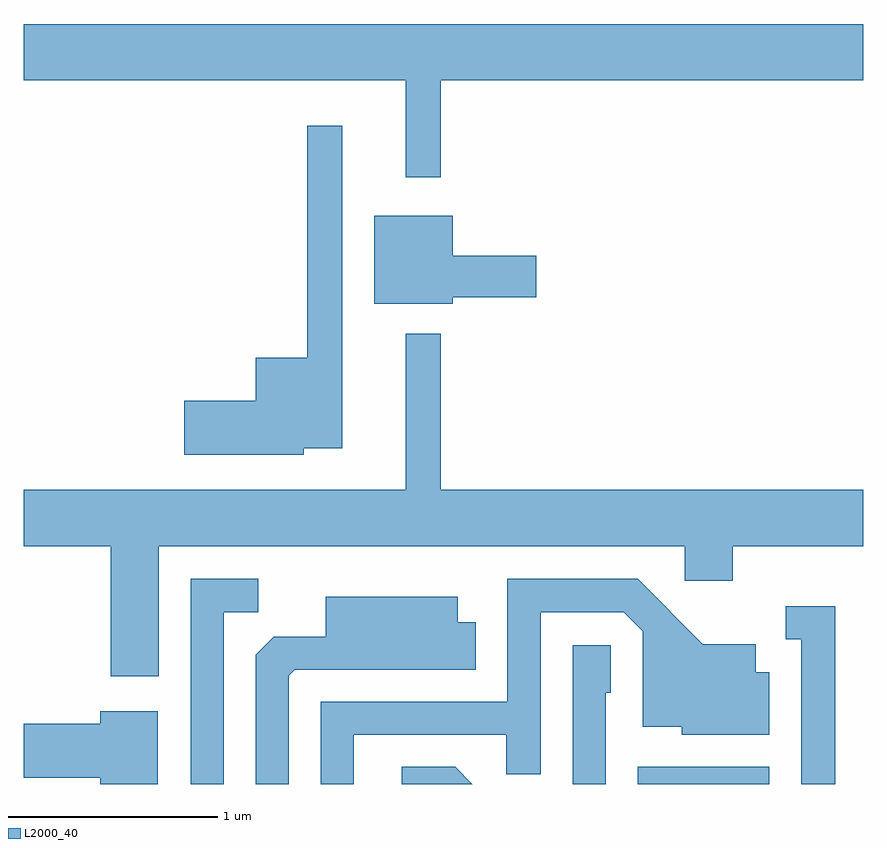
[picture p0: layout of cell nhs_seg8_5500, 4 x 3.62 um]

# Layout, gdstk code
import gdstk
lib = gdstk.Library(unit=1e-6, precision=1e-09)
def R(c, l, rs):  # rectangles x0, y0, x1, y1
    for r in rs: c.add(gdstk.rectangle(r[:2], r[2:], *l))
def P(c, l, *ps):  # polygons
    for p in ps: c.add(gdstk.Polygon(p, *l))
L2000_40 = (2000, 40)

nhs_seg8_5500 = lib.new_cell('nhs_seg8_5500')
R(nhs_seg8_5500, L2000_40, [(352.536,1886.342,353.164,1886.424)])
P(nhs_seg8_5500, L2000_40, [(351.599,1889.696),(353.611,1889.696),(353.611,1889.964),(349.611,1889.964),(349.611,1889.696),(351.431,1889.696),(351.431,1889.233),(351.599,1889.233)],
  [(350.944,1887.941),(351.129,1887.941),(351.129,1889.478),(350.961,1889.478),(350.961,1888.374),(350.716,1888.374),(350.716,1888.169),(350.376,1888.169),(350.376,1887.911),(350.944,1887.911)],
  [(351.654,1888.661),(352.054,1888.661),(352.054,1888.859),(351.654,1888.859),(351.654,1889.049),(351.281,1889.049),(351.281,1888.631),(351.654,1888.631)],
  [(350.254,1887.476),(352.761,1887.476),(352.761,1887.311),(352.989,1887.311),(352.989,1887.476),(353.611,1887.476),(353.611,1887.744),(351.599,1887.744),(351.599,1888.488),(351.431,1888.488),(351.431,1887.744),(349.611,1887.744),(349.611,1887.476),(350.026,1887.476),(350.026,1886.856),(350.254,1886.856)],
  [(350.564,1887.161),(350.728,1887.161),(350.728,1887.319),(350.406,1887.319),(350.406,1886.342),(350.564,1886.342)],
  [(351.184,1886.576),(351.911,1886.576),(351.911,1886.388),(352.074,1886.388),(352.074,1887.161),(352.469,1887.161),(352.561,1887.069),(352.561,1886.616),(352.746,1886.616),(352.746,1886.576),(353.164,1886.576),(353.164,1886.874),(353.099,1886.874),(353.099,1887.009),(352.847,1887.009),(352.537,1887.319),(351.916,1887.319),(351.916,1886.734),(351.026,1886.734),(351.026,1886.342),(351.184,1886.342)],
  [(350.874,1886.859),(350.902,1886.886),(351.764,1886.886),(351.764,1887.114),(351.679,1887.114),(351.679,1887.234),(351.051,1887.234),(351.051,1887.044),(350.802,1887.044),(350.716,1886.959),(350.716,1886.342),(350.874,1886.342)],
  [(353.479,1887.189),(353.243,1887.189),(353.243,1887.031),(353.316,1887.031),(353.316,1886.342),(353.479,1886.342)],
  [(352.384,1886.776),(352.409,1886.776),(352.409,1887.004),(352.226,1887.004),(352.226,1886.342),(352.384,1886.342)],
  [(350.249,1886.689),(349.976,1886.689),(349.976,1886.629),(349.611,1886.629),(349.611,1886.371),(349.976,1886.371),(349.976,1886.342),(350.249,1886.342)],
  [(351.667,1886.424),(351.411,1886.424),(351.411,1886.342),(351.749,1886.342)])

lib.write_gds('nhs_seg8_5500.gds')
